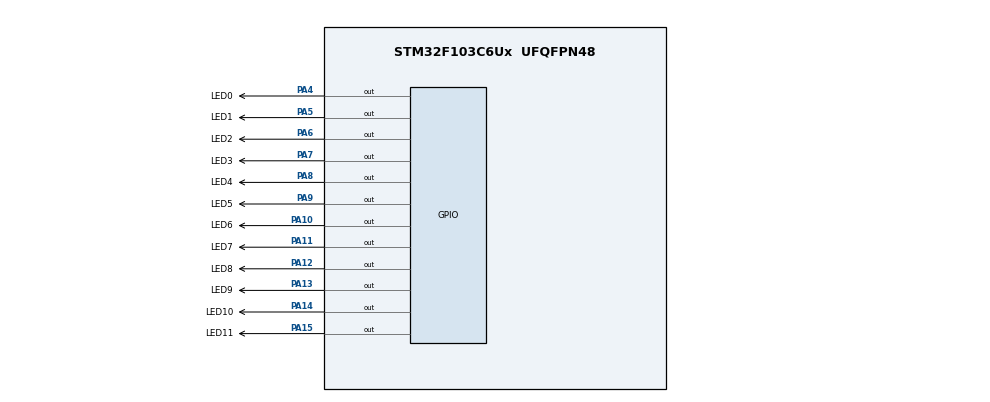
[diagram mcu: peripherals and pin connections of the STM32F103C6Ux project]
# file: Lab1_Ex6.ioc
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Mcu.Family=STM32F1
Mcu.Name=STM32F103C6Ux
Mcu.Package=UFQFPN48
NVIC.PriorityGroup=NVIC_PRIORITYGROUP_4
PA10.GPIO_Label=LED6
PA10.Signal=GPIO_Output
PA11.GPIO_Label=LED7
PA11.Signal=GPIO_Output
PA12.GPIO_Label=LED8
PA12.Signal=GPIO_Output
PA13.GPIO_Label=LED9
PA13.Signal=GPIO_Output
PA14.GPIO_Label=LED10
PA14.Signal=GPIO_Output
PA15.GPIO_Label=LED11
PA15.Signal=GPIO_Output
PA4.GPIO_Label=LED0
PA4.Signal=GPIO_Output
PA5.GPIO_Label=LED1
PA5.Signal=GPIO_Output
PA6.GPIO_Label=LED2
PA6.Signal=GPIO_Output
PA7.GPIO_Label=LED3
PA7.Signal=GPIO_Output
PA8.GPIO_Label=LED4
PA8.Signal=GPIO_Output
PA9.GPIO_Label=LED5
PA9.Signal=GPIO_Output
ProjectManager.HeapSize=0x200
ProjectManager.StackSize=0x400
ProjectManager.TargetToolchain=STM32CubeIDE
RCC.APB1Freq_Value=8000000
RCC.APB2Freq_Value=8000000
board=custom

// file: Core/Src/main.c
/* USER CODE BEGIN Header */
/**
  ******************************************************************************
  * @file           : main.c
  * @brief          : Main program body
  ******************************************************************************
  * @attention
  *
  * Copyright (c) 2024 STMicroelectronics.
  * All rights reserved.
  *
  * This software is licensed under terms that can be found in the LICENSE file
  * in the root directory of this software component.
  * If no LICENSE file comes with this software, it is provided AS-IS.
  *
  ******************************************************************************
  */
/* USER CODE END Header */
#include "main.h"

void SystemClock_Config(void);
static void MX_GPIO_Init(void);
/* USER CODE BEGIN PFP */
void setNumberOnClock(int number);
void clearNumberOnClock(int number);
void checkLedsOnClock(void);
void clearAllClock(void);
void updateLedOnClock(int hour, int minute, int second);
void displayAnalogClock(int hour, int minute, int second);
/* USER CODE END PFP */

/* USER CODE BEGIN 0 */

//Update ex7
//Update ex8
//Update ex9
//Update ex10

void setNumberOnClock(int number){
	if(number == 0){
		HAL_GPIO_WritePin(LED0_GPIO_Port, LED0_Pin, GPIO_PIN_SET);
	}
	else if(number == 1){
		HAL_GPIO_WritePin(LED1_GPIO_Port, LED1_Pin, GPIO_PIN_SET);
	}
	else if(number == 2){
		HAL_GPIO_WritePin(LED2_GPIO_Port, LED2_Pin, GPIO_PIN_SET);
	}
	else if(number == 3){
		HAL_GPIO_WritePin(LED3_GPIO_Port, LED3_Pin, GPIO_PIN_SET);
	}
	else if(number == 4){
		HAL_GPIO_WritePin(LED4_GPIO_Port, LED4_Pin, GPIO_PIN_SET);
	}
	else if(number == 5){
		HAL_GPIO_WritePin(LED5_GPIO_Port, LED5_Pin, GPIO_PIN_SET);
	}
	else if(number == 6){
		HAL_GPIO_WritePin(LED6_GPIO_Port, LED6_Pin, GPIO_PIN_SET);
	}
	else if(number == 7){
		HAL_GPIO_WritePin(LED7_GPIO_Port, LED7_Pin, GPIO_PIN_SET);
	}
	else if(number == 8){
		HAL_GPIO_WritePin(LED8_GPIO_Port, LED8_Pin, GPIO_PIN_SET);
	}
	else if(number == 9){
		HAL_GPIO_WritePin(LED9_GPIO_Port, LED9_Pin, GPIO_PIN_SET);
	}
	else if(number == 10){
		HAL_GPIO_WritePin(LED10_GPIO_Port, LED10_Pin, GPIO_PIN_SET);
	}
	else if(number == 11){
		HAL_GPIO_WritePin(LED11_GPIO_Port, LED11_Pin, GPIO_PIN_SET);
	}
	else{
		/*This is fault in number value < 0 || number value > 11*/
	}
}

void clearNumberOnClock(int number){
	if(number == 0){
		HAL_GPIO_WritePin(LED0_GPIO_Port, LED0_Pin, GPIO_PIN_RESET);
	}
	else if(number == 1){
		HAL_GPIO_WritePin(LED1_GPIO_Port, LED1_Pin, GPIO_PIN_RESET);
	}
	else if(number == 2){
		HAL_GPIO_WritePin(LED2_GPIO_Port, LED2_Pin, GPIO_PIN_RESET);
	}
	else if(number == 3){
		HAL_GPIO_WritePin(LED3_GPIO_Port, LED3_Pin, GPIO_PIN_RESET);
	}
	else if(number == 4){
		HAL_GPIO_WritePin(LED4_GPIO_Port, LED4_Pin, GPIO_PIN_RESET);
	}
	else if(number == 5){
		HAL_GPIO_WritePin(LED5_GPIO_Port, LED5_Pin, GPIO_PIN_RESET);
	}
	else if(number == 6){
		HAL_GPIO_WritePin(LED6_GPIO_Port, LED6_Pin, GPIO_PIN_RESET);
	}
	else if(number == 7){
		HAL_GPIO_WritePin(LED7_GPIO_Port, LED7_Pin, GPIO_PIN_RESET);
	}
	else if(number == 8){
		HAL_GPIO_WritePin(LED8_GPIO_Port, LED8_Pin, GPIO_PIN_RESET);
	}
	else if(number == 9){
		HAL_GPIO_WritePin(LED9_GPIO_Port, LED9_Pin, GPIO_PIN_RESET);
	}
	else if(number == 10){
		HAL_GPIO_WritePin(LED10_GPIO_Port, LED10_Pin, GPIO_PIN_RESET);
	}
	else if(number == 11){
		HAL_GPIO_WritePin(LED11_GPIO_Port, LED11_Pin, GPIO_PIN_RESET);
	}
	else{
		/*This is fault in number value < 0 || number value > 11*/
	}
}

void checkLedsOnClock(void){
	for(int i = 0;i <= 11; i++){
		setNumberOnClock(i);
		HAL_Delay(1000);
	}
}

void clearAllClock(){
	HAL_GPIO_WritePin(LED0_GPIO_Port, LED0_Pin, GPIO_PIN_RESET);
	HAL_GPIO_WritePin(LED1_GPIO_Port, LED1_Pin, GPIO_PIN_RESET);
	HAL_GPIO_WritePin(LED2_GPIO_Port, LED2_Pin, GPIO_PIN_RESET);
	HAL_GPIO_WritePin(LED3_GPIO_Port, LED3_Pin, GPIO_PIN_RESET);
	HAL_GPIO_WritePin(LED4_GPIO_Port, LED4_Pin, GPIO_PIN_RESET);
	HAL_GPIO_WritePin(LED5_GPIO_Port, LED5_Pin, GPIO_PIN_RESET);
	HAL_GPIO_WritePin(LED6_GPIO_Port, LED6_Pin, GPIO_PIN_RESET);
	HAL_GPIO_WritePin(LED7_GPIO_Port, LED7_Pin, GPIO_PIN_RESET);
	HAL_GPIO_WritePin(LED8_GPIO_Port, LED8_Pin, GPIO_PIN_RESET);
	HAL_GPIO_WritePin(LED9_GPIO_Port, LED9_Pin, GPIO_PIN_RESET);
	HAL_GPIO_WritePin(LED10_GPIO_Port, LED10_Pin, GPIO_PIN_RESET);
	HAL_GPIO_WritePin(LED11_GPIO_Port, LED11_Pin, GPIO_PIN_RESET);
}

void updateLedOnClock(int hour, int minute, int second){

	int hour_led = hour % 12;
	int minute_led = minute / 5;
	int second_led = second / 5;

	clearAllClock();

	setNumberOnClock(hour_led);
	setNumberOnClock(minute_led);
	setNumberOnClock(second_led);
}

void displayAnalogClock(int hour, int minute, int second){
	while(1){
			second = second + 1;

			if(second >= 60){
				minute = minute + 1;
				second = 0;
			}

			if(minute >= 60){
				hour = hour + 1;
				minute = 0;
			}

			if(hour >= 11){
				hour = 0;
			}

			updateLedOnClock(hour, minute, second);

			HAL_Delay(50);   /*50ms just for simulate fast*/
	}
}

/* USER CODE END 0 */

int main(void)
{

  /* MCU Configuration--------------------------------------------------------*/

  /* Reset of all peripherals, Initializes the Flash interface and the Systick. */
  HAL_Init();

  /* Configure the system clock */
  SystemClock_Config();

  /* Initialize all configured peripherals */
  MX_GPIO_Init();

  /* Infinite loop */
  /* USER CODE BEGIN WHILE */

  while (1)
  {
	  /*checkLedsOnClock();

	  for(int i = 0;i <= 11; i++){
		  clearNumberOnClock(i);
		  HAL_Delay(1000);
	  }*/
	  int hour = 0;
	  int minute = 0;
	  int second = 0;

	  displayAnalogClock(hour,minute,second);

    /* USER CODE END WHILE */

  }
}

void SystemClock_Config(void)
{
  RCC_OscInitTypeDef RCC_OscInitStruct = {0};
  RCC_ClkInitTypeDef RCC_ClkInitStruct = {0};

  /** Initializes the RCC Oscillators according to the specified parameters
  * in the RCC_OscInitTypeDef structure.
  */
  RCC_OscInitStruct.OscillatorType = RCC_OSCILLATORTYPE_HSI;
  RCC_OscInitStruct.HSIState = RCC_HSI_ON;
  RCC_OscInitStruct.HSICalibrationValue = RCC_HSICALIBRATION_DEFAULT;
  RCC_OscInitStruct.PLL.PLLState = RCC_PLL_NONE;
  if (HAL_RCC_OscConfig(&RCC_OscInitStruct) != HAL_OK)
  {
    Error_Handler();
  }

  /** Initializes the CPU, AHB and APB buses clocks
  */
  RCC_ClkInitStruct.ClockType = RCC_CLOCKTYPE_HCLK|RCC_CLOCKTYPE_SYSCLK
                              |RCC_CLOCKTYPE_PCLK1|RCC_CLOCKTYPE_PCLK2;
  RCC_ClkInitStruct.SYSCLKSource = RCC_SYSCLKSOURCE_HSI;
  RCC_ClkInitStruct.AHBCLKDivider = RCC_SYSCLK_DIV1;
  RCC_ClkInitStruct.APB1CLKDivider = RCC_HCLK_DIV1;
  RCC_ClkInitStruct.APB2CLKDivider = RCC_HCLK_DIV1;

  if (HAL_RCC_ClockConfig(&RCC_ClkInitStruct, FLASH_LATENCY_0) != HAL_OK)
  {
    Error_Handler();
  }
}

static void MX_GPIO_Init(void)
{
  GPIO_InitTypeDef GPIO_InitStruct = {0};

  /* GPIO Ports Clock Enable */
  __HAL_RCC_GPIOA_CLK_ENABLE();

  /*Configure GPIO pin Output Level */
  HAL_GPIO_WritePin(GPIOA, LED0_Pin|LED1_Pin|LED2_Pin|LED3_Pin
                          |LED4_Pin|LED5_Pin|LED6_Pin|LED7_Pin
                          |LED8_Pin|LED9_Pin|LED10_Pin|LED11_Pin, GPIO_PIN_RESET);

  /*Configure GPIO pins : LED0_Pin LED1_Pin LED2_Pin LED3_Pin
                           LED4_Pin LED5_Pin LED6_Pin LED7_Pin
                           LED8_Pin LED9_Pin LED10_Pin LED11_Pin */
  GPIO_InitStruct.Pin = LED0_Pin|LED1_Pin|LED2_Pin|LED3_Pin
                          |LED4_Pin|LED5_Pin|LED6_Pin|LED7_Pin
                          |LED8_Pin|LED9_Pin|LED10_Pin|LED11_Pin;
  GPIO_InitStruct.Mode = GPIO_MODE_OUTPUT_PP;
  GPIO_InitStruct.Pull = GPIO_NOPULL;
  GPIO_InitStruct.Speed = GPIO_SPEED_FREQ_LOW;
  HAL_GPIO_Init(GPIOA, &GPIO_InitStruct);

}

void Error_Handler(void)
{
  __disable_irq();
  while (1)
  {
  }
}
